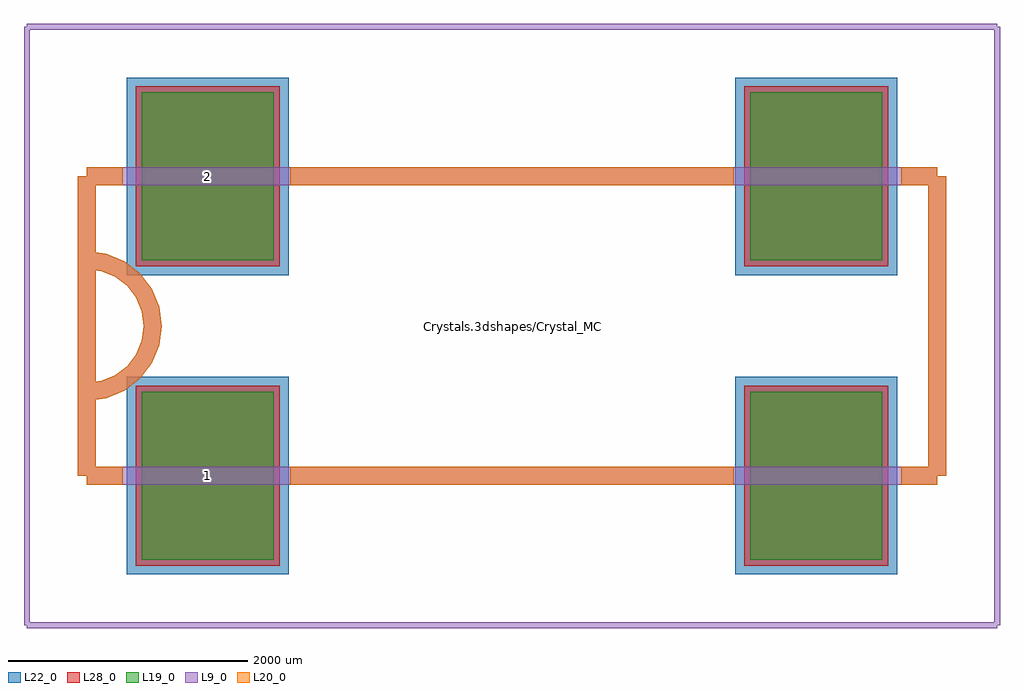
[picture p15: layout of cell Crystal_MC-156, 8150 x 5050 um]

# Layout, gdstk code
import gdstk
lib = gdstk.Library(unit=1e-6, precision=1e-09)
def R(c, l, rs):  # rectangles x0, y0, x1, y1
    for r in rs: c.add(gdstk.rectangle(r[:2], r[2:], *l))
L9_0 = (9, 0)
L19_0 = (19, 0)
L20_0 = (20, 0)
L22_0 = (22, 0)
L28_0 = (28, 0)

crystal_mc_156 = lib.new_cell('Crystal_MC-156')
R(crystal_mc_156, L19_0, [(-3090,-1950,-1990,-550), (1990,-1950,3090,-550), (-3090,550,-1990,1950), (1990,550,3090,1950)])
R(crystal_mc_156, L22_0, [(-3215,-2075,-1865,-425), (1865,-2075,3215,-425), (-3215,425,-1865,2075), (1865,425,3215,2075)])
R(crystal_mc_156, L28_0, [(-3140,-2000,-1940,-500), (1940,-2000,3140,-500), (-3140,500,-1940,2000), (1940,500,3140,2000)])
crystal_mc_156.add(gdstk.FlexPath([(-3550,-1250),(3550,-1250)], 149.998, ends="flush", simple_path=True, layer=9, datatype=0))  # L9_0
crystal_mc_156.add(gdstk.FlexPath([(3550,1250),(-3550,1250)], 149.998, ends="flush", simple_path=True, layer=9, datatype=0))  # L9_0
crystal_mc_156.add(gdstk.FlexPath([(-3550,-550),(-3407.65,-531.259),(-3275,-476.314),(-3161.091,-388.909),(-3073.686,-275),(-3018.741,-142.35),(-3000,0),(-3018.741,142.35),(-3073.686,275),(-3161.091,388.909),(-3275,476.314),(-3407.65,531.259),(-3550,550)], 149.998, ends="flush", simple_path=True, layer=9, datatype=0))  # L9_0
crystal_mc_156.add(gdstk.FlexPath([(-3550,-1250),(-3550,1250)], 149.998, ends="flush", simple_path=True, layer=9, datatype=0))  # L9_0
crystal_mc_156.add(gdstk.FlexPath([(3550,1250),(3550,-1250)], 149.998, ends="flush", simple_path=True, layer=9, datatype=0))  # L9_0
crystal_mc_156.add(gdstk.FlexPath([(-4050,-2500),(-4050,2500)], 50, ends="flush", simple_path=True, layer=9, datatype=0))  # L9_0
crystal_mc_156.add(gdstk.FlexPath([(4050,-2500),(-4050,-2500)], 50, ends="flush", simple_path=True, layer=9, datatype=0))  # L9_0
crystal_mc_156.add(gdstk.FlexPath([(4050,2500),(4050,-2500)], 50, ends="flush", simple_path=True, layer=9, datatype=0))  # L9_0
crystal_mc_156.add(gdstk.FlexPath([(-4050,2500),(4050,2500)], 50, ends="flush", simple_path=True, layer=9, datatype=0))  # L9_0
crystal_mc_156.add(gdstk.FlexPath([(-3550,-1250),(-3250,-1250)], 149.998, ends="flush", simple_path=True, layer=20, datatype=0))  # L20_0
crystal_mc_156.add(gdstk.FlexPath([(-3550,1250),(-3550,-1250)], 149.998, ends="flush", simple_path=True, layer=20, datatype=0))  # L20_0
crystal_mc_156.add(gdstk.FlexPath([(-3550,1250),(-3250,1250)], 149.998, ends="flush", simple_path=True, layer=20, datatype=0))  # L20_0
crystal_mc_156.add(gdstk.FlexPath([(-1850,1250),(1850,1250)], 149.998, ends="flush", simple_path=True, layer=20, datatype=0))  # L20_0
crystal_mc_156.add(gdstk.FlexPath([(3550,-1250),(3250,-1250)], 149.998, ends="flush", simple_path=True, layer=20, datatype=0))  # L20_0
crystal_mc_156.add(gdstk.FlexPath([(3550,1250),(3550,-1250)], 149.998, ends="flush", simple_path=True, layer=20, datatype=0))  # L20_0
crystal_mc_156.add(gdstk.FlexPath([(3250,1250),(3550,1250)], 149.998, ends="flush", simple_path=True, layer=20, datatype=0))  # L20_0
crystal_mc_156.add(gdstk.FlexPath([(1850,-1250),(-1850,-1250)], 149.998, ends="flush", simple_path=True, layer=20, datatype=0))  # L20_0
crystal_mc_156.add(gdstk.FlexPath([(-3550,-550),(-3407.65,-531.259),(-3275,-476.314),(-3161.091,-388.909),(-3073.686,-275),(-3018.741,-142.35),(-3000,0),(-3018.741,142.35),(-3073.686,275),(-3161.091,388.909),(-3275,476.314),(-3407.65,531.259),(-3550,550)], 149.998, ends="flush", simple_path=True, layer=20, datatype=0))  # L20_0
crystal_mc_156.add(gdstk.Label('Crystals.3dshapes/Crystal_MC-156.wrl', (0,0), layer=12, texttype=0))
crystal_mc_156.add(gdstk.Label('2', (-2540,1250), layer=28, texttype=0))
crystal_mc_156.add(gdstk.Label('1', (-2540,-1250), layer=28, texttype=0))
crystal_mc_156.add(gdstk.Label('type', (0,-3300), layer=9, texttype=0))
crystal_mc_156.add(gdstk.Label('devicename', (0,3150), layer=9, texttype=0))

lib.write_gds('Crystal_MC-156.gds')
